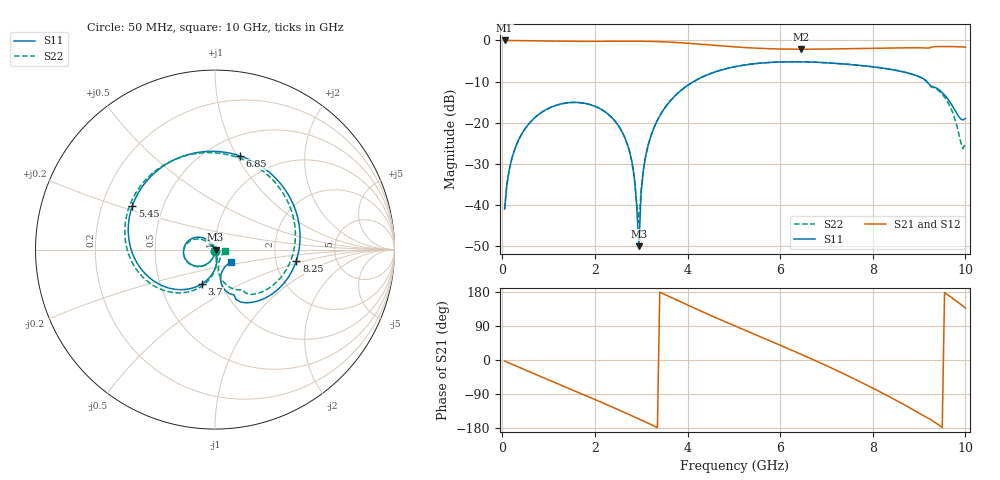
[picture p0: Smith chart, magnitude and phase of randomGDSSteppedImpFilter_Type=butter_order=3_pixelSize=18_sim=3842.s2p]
! freq	dB(S11)	phase(S11)	dB(S12)	phase(S12)
!  dB(S21)	phase(S21)	dB(S22)	phase(S22)
!S-par simulation data
#  GHz  S  DB  R 50
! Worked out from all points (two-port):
!   200 points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, 50 MHz to 10 GHz, reference 50 ohm
!   highest |S21| = -0.01 dB at 50 MHz (marker M1); lowest = -2.1 dB at 6.45 GHz (marker M2)
!   |S21| within 3 dB of the highest: start of sweep to end of sweep
!   lowest |S11| = -50.0 dB at 2.95 GHz (marker M3), VSWR 1.01, Z = 50.3 - j0.0875 ohm
!   |S11| at or under -10 dB: start of sweep to 4.134 GHz; 9.168 GHz to end of sweep
!   |S22| runs from -44.3 to -5.2 dB; largest |S21 - S12| = 0
!   S11 on the Smith chart (normalised r, x): 50 MHz: 1.00, -0.02; 3.7 GHz: 0.81, -0.32; 5.45 GHz: 0.33, +0.22; 6.85 GHz: 0.70, +1.03; 8.25 GHz: 2.61, -0.40; 10 GHz: 1.18, -0.17
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0.05  -40.98 -92.3  -0.01 -2.7  -0.01 -2.7  -40.97 -92.2
0.2  -28.99 -100.8  -0.02 -10.7  -0.02 -10.7  -28.99 -100.5
0.5  -21.35 -117.2  -0.06 -26.5  -0.06 -26.5  -21.36 -116.4
1.75  -15.23 176.5  -0.24 -91.2  -0.24 -91.2  -15.23 179.8
2.65  -23.74 126.8  -0.19 -139.0  -0.19 -139.0  -23.75 136.1
2.85  -33.25 112.1  -0.19 -150.0  -0.19 -150.0  -33.17 134.7
2.95  -50.03 -16.0  -0.20 -155.6  -0.20 -155.6  -44.35 -131.3
3  -36.73 -63.1  -0.20 -158.4  -0.20 -158.4  -36.04 -87.5
3.05  -31.33 -69.7  -0.21 -161.2  -0.21 -161.2  -31.07 -81.3
3.4  -18.35 -93.1  -0.30 179.0  -0.30 179.0  -18.31 -92.0
3.7  -13.81 -110.8  -0.46 162.0  -0.46 162.0  -13.78 -107.5
4.4  -8.50 -150.8  -1.02 123.0  -1.02 123.0  -8.48 -144.4
5.05  -6.34 173.6  -1.59 88.4  -1.59 88.4  -6.32 -177.4
5.45  -5.66 152.1  -1.86 67.6  -1.86 67.6  -5.65 162.9
6.45  -5.21 97.7  -2.13 15.2  -2.13 15.2  -5.20 113.4
6.7  -5.28 83.6  -2.12 1.7  -2.12 1.7  -5.27 100.6
6.85  -5.35 75.0  -2.11 -6.6  -2.11 -6.6  -5.34 92.7
7.5  -5.84 37.1  -1.99 -43.9  -1.99 -43.9  -5.83 57.1
8.25  -6.80 -7.7  -1.85 -89.9  -1.85 -89.9  -6.78 12.1
8.35  -6.97 -13.7  -1.84 -96.4  -1.84 -96.4  -6.96 5.7
9.35  -11.44 -69.1  -1.51 -165.1  -1.51 -165.1  -11.65 -59.2
10  -18.95 -37.7  -1.64 137.1  -1.64 137.1  -24.98 -6.2
